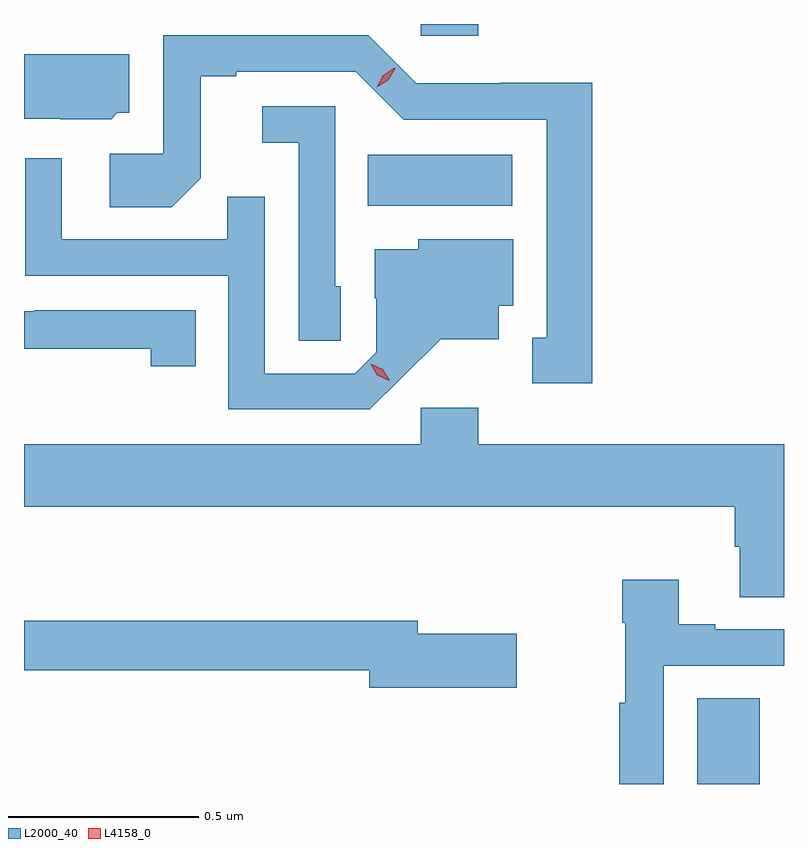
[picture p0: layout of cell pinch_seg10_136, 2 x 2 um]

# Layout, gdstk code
import gdstk
lib = gdstk.Library(unit=1e-6, precision=1e-09)
def R(c, l, rs):  # rectangles x0, y0, x1, y1
    for r in rs: c.add(gdstk.rectangle(r[:2], r[2:], *l))
def P(c, l, *ps):  # polygons
    for p in ps: c.add(gdstk.Polygon(p, *l))
L2000_40 = (2000, 40)
L4158_0 = (4158, 0)

pinch_seg10_136 = lib.new_cell('pinch_seg10_136')
R(pinch_seg10_136, L2000_40, [(713.216,1286.266,713.38,1286.492), (712.348,1287.788,712.729,1287.922), (712.488,1288.235,712.64,1288.266)])
P(pinch_seg10_136, L2000_40, [(712.939,1288.112),(712.698,1288.112),(712.698,1288.11),(712.476,1288.11),(712.35,1288.236),(711.81,1288.236),(711.81,1287.924),(711.669,1287.924),(711.669,1287.784),(711.833,1287.784),(711.909,1287.86),(711.909,1288.128),(712.003,1288.128),(712.003,1288.14),(712.317,1288.14),(712.443,1288.014),(712.82,1288.014),(712.82,1287.441),(712.781,1287.441),(712.781,1287.321),(712.939,1287.321)],
  [(711.69,1288.032),(711.721,1288.032),(711.721,1288.186),(711.444,1288.186),(711.444,1288.017),(711.54,1288.017),(711.54,1288.016),(711.674,1288.016)],
  [(712.278,1287.576),(712.263,1287.576),(712.263,1288.05),(712.071,1288.05),(712.071,1287.953),(712.167,1287.953),(712.167,1287.433),(712.278,1287.433)],
  [(712.438,1287.335),(712.541,1287.437),(712.693,1287.437),(712.693,1287.524),(712.732,1287.524),(712.732,1287.7),(712.482,1287.7),(712.482,1287.673),(712.367,1287.673),(712.367,1287.544),(712.371,1287.544),(712.371,1287.402),(712.314,1287.345),(712.077,1287.345),(712.077,1287.812),(711.979,1287.812),(711.979,1287.699),(711.543,1287.699),(711.543,1287.913),(711.447,1287.913),(711.447,1287.603),(711.981,1287.603),(711.981,1287.252),(712.354,1287.252)],
  [(711.896,1287.513),(711.472,1287.513),(711.472,1287.51),(711.444,1287.51),(711.444,1287.412),(711.778,1287.412),(711.778,1287.366),(711.896,1287.366)],
  [(713.444,1287.16),(712.64,1287.16),(712.64,1287.256),(712.488,1287.256),(712.488,1287.16),(711.444,1287.16),(711.444,1286.996),(713.315,1286.996),(713.315,1286.89),(713.327,1286.89),(713.327,1286.758),(713.444,1286.758)],
  [(713.127,1286.577),(713.444,1286.577),(713.444,1286.673),(713.263,1286.673),(713.263,1286.686),(713.167,1286.686),(713.167,1286.803),(713.018,1286.803),(713.018,1286.69),(713.026,1286.69),(713.026,1286.48),(713.011,1286.48),(713.011,1286.266),(713.127,1286.266)],
  [(712.741,1286.661),(712.48,1286.661),(712.48,1286.695),(711.444,1286.695),(711.444,1286.566),(712.352,1286.566),(712.352,1286.519),(712.741,1286.519)])
P(pinch_seg10_136, L4158_0, [(712.372,1288.099),(712.372,1288.099),(712.389,1288.131),(712.42,1288.151),(712.421,1288.151),(712.421,1288.15),(712.403,1288.118),(712.372,1288.099)],
  [(712.405,1287.327),(712.374,1287.342),(712.357,1287.371),(712.357,1287.372),(712.357,1287.372),(712.388,1287.357),(712.406,1287.327),(712.406,1287.327)])

lib.write_gds('pinch_seg10_136.gds')
